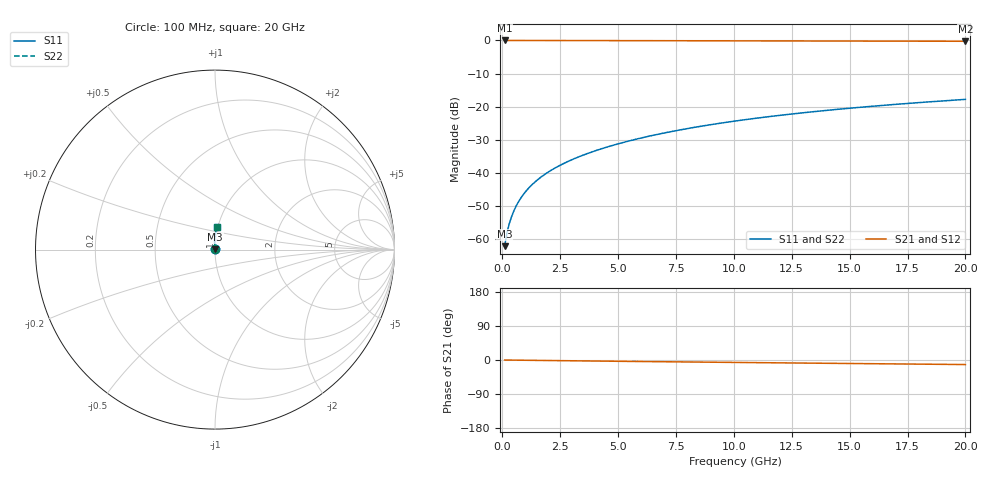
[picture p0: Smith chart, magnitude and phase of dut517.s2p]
! Touchstone file exported from HFSS 2024.1.0
!  File:  C:/UserFiles/LocalFiles/RDL_TSV_Batchsim/temp_RDL_bottom_517_1779687919.aedt
!  Generated:  01:47:39 PM May 25, 2026
!  Design:  RDL_bottom
!  Project:  temp_RDL_bottom_517_1779687919
!  Setup:  Setup1
!  Solution:  Sweep
! Variables:
!  dtsv = 10.80580581um
!  hbump = 3um
!  htsv = 70.41um
!  ldown = 142.43um
!  lrdl = 100um
!  p = 40
!  p1 = 55.91um
!  rhole = 1um
!  t = 450um
!  tdown = 4.87um
!  trdl = 3.915915916um
!  wdown = 27.7um
!  wrdl = 20um
# GHz S MA R 50.000000
! Terminal data exported
! Port[1] = RDL1_T1
! Port[2] = RDL1_T2
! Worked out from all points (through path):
!   200 points, 100 MHz to 20 GHz, reference 50 ohm
!   highest |S21| = 0.00 dB at 100 MHz (marker M1); lowest = -0.3 dB at 20 GHz (marker M2)
!   group delay of S21, straight-line fit = 1.64 ps
!   lowest |S11| = -62.0 dB at 100 MHz (marker M3), VSWR 1.00, Z = 50.1 + j0.0569 ohm
!   |S11| at or under -10 dB: start of sweep to end of sweep
!   |S22| runs from -62.0 to -17.8 dB; largest |S21 - S12| = 2.5e-15
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0.1  0.0007915 45.9  0.9994 -0.1  0.9994 -0.1  0.0007915 45.9
! Gamma 0 0 0 0
! Port Impedance 50 0 50 0
0.2  0.001245 61.8  0.9994 -0.1  0.9994 -0.1  0.001245 61.8
0.3  0.001719 69.3  0.9993 -0.2  0.9993 -0.2  0.001719 69.3
0.4  0.002204 73.8  0.9993 -0.3  0.9993 -0.3  0.002204 73.8
0.5  0.002696 76.9  0.9993 -0.4  0.9993 -0.4  0.002696 76.9
0.6  0.003194 79.1  0.9992 -0.4  0.9992 -0.4  0.003194 79.1
0.8  0.004203 82.1  0.9991 -0.6  0.9991 -0.6  0.004203 82.1
1.1  0.005737 84.8  0.9989 -0.8  0.9989 -0.8  0.005737 84.8
1.5  0.007812 87.0  0.9987 -1.1  0.9987 -1.1  0.007812 87.0
1.8  0.009389 88.2  0.9984 -1.3  0.9984 -1.3  0.009389 88.2
2.1  0.01098 89.1  0.9981 -1.5  0.9981 -1.5  0.01098 89.1
2.7  0.01424 90.5  0.9973 -1.9  0.9973 -1.9  0.01424 90.5
3.5  0.01872 91.7  0.9962 -2.4  0.9962 -2.4  0.01872 91.7
4.2  0.02278 92.4  0.995 -2.9  0.995 -2.9  0.02278 92.4
5  0.0276 93.0  0.9937 -3.4  0.9937 -3.4  0.0276 93.0
6.8  0.03902 93.2  0.9905 -4.5  0.9905 -4.5  0.03902 93.2
8.4  0.04966 92.6  0.9878 -5.5  0.9878 -5.5  0.04966 92.6
10.1  0.06125 91.7  0.9851 -6.5  0.9851 -6.5  0.06125 91.7
11.7  0.07229 90.5  0.9827 -7.4  0.9827 -7.4  0.07229 90.5
13.4  0.08406 89.2  0.9803 -8.3  0.9803 -8.3  0.08406 89.2
16.7  0.1068 86.6  0.9759 -10.2  0.9759 -10.2  0.1068 86.6
20  0.1292 84.1  0.9716 -12.0  0.9716 -12.0  0.1292 84.1
